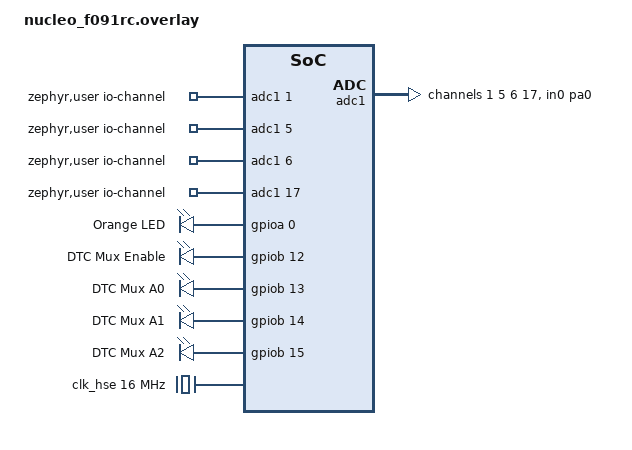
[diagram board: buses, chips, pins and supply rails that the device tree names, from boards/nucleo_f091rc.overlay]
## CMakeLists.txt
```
cmake_minimum_required(VERSION 3.20.0)

find_package(Zephyr REQUIRED HINTS $ENV{ZEPHYR_BASE})

project("oresat-diode-test" LANGUAGES C)

execute_process(COMMAND bash -c "oresat-configs canopennode od.yaml ../../common/od.yaml -d gen")

target_sources(app PRIVATE
  src/main.c
  gen/OD.c
)

zephyr_include_directories(gen)
```

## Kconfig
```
config SEQUENCE_SAMPLES
	int "Number of samples to be made on the sequence for each channel."
	default 5

config SEQUENCE_RESOLUTION
	int "Set the resolution of the sequence readings."
	default 12

config CANOPEN_NODE_ID
	int "CANopen node ID"
	default 10
	range 1 127
	help
	  7-bit CANopen Node ID

source "Kconfig.zephyr"
module = APP
module-str = APP
```

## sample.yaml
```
sample:
  name: oresat-diode-test
common:
  tags:
    - can
    - canopen
  modules:
    - canopennode
  integration_platforms:
    - nucleo_f091rc
```

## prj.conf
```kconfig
CONFIG_GPIO=y
CONFIG_SENSOR=y
CONFIG_CAN=y
CONFIG_CAN_DEFAULT_BITRATE=1000000
CONFIG_CANOPENNODE_V4=y
CONFIG_REBOOT=y
CONFIG_STM32_VREF=y
CONFIG_STM32_TEMP=y
CONFIG_DAC=y

#CONFIG_ZTEST=y
CONFIG_ADC=y
CONFIG_ADC_ASYNC=y
CONFIG_ADC_LOG_LEVEL_INF=y
CONFIG_HEAP_MEM_POOL_SIZE=1024
CONFIG_TEST_USERSPACE=y

CONFIG_CANOPEN_NODE_ID=54
```

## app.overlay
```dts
/ {
  chosen {
    zephyr,code-partition = &slot0_partition;
  };
};
```

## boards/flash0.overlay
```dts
&flash0 {
	partitions {
    boot_partition: partition@0 {
      label = "mcuboot";
      reg = <0x00000000 0x0000C000>;
    };
    slot0_partition: partition@c000 {
      label = "image-0";
      reg = <0x0000C000 DT_SIZE_K(96)>;
    };
    slot1_partition: partition@25000 {
      label = "image-1";
      reg = <0x00025000 DT_SIZE_K(96)>;
    };
	};
};
```

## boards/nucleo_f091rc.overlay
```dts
/ {
	zephyr,user {
		dac = <&dac1>;
		dac-channel-id = <1>;
		dac-resolution = <12>;
    io-channels = <&adc1 1>, <&adc1 5>, <&adc1 6>, <&adc1 17>;
	};

	leds: leds {
		compatible = "gpio-leds";
		orange_led_0: led_0 {
			gpios = <&gpioa 0 GPIO_ACTIVE_HIGH>;
			label = "Orange LED";
		};
	};

  mux_pins: mux_pins {
		compatible = "gpio-leds";
		dtc_mux_en: mux_en {
			gpios = <&gpiob 12 GPIO_ACTIVE_HIGH>;
			label = "DTC Mux Enable";
		};
		dtc_mux_a0: mux_a0 {
			gpios = <&gpiob 13 GPIO_ACTIVE_HIGH>;
			label = "DTC Mux A0";
		};
		dtc_mux_a1: mux_a1 {
			gpios = <&gpiob 14 GPIO_ACTIVE_HIGH>;
			label = "DTC Mux A1";
		};
		dtc_mux_a2: mux_a2 {
			gpios = <&gpiob 15 GPIO_ACTIVE_HIGH>;
			label = "DTC Mux A2";
		};
	};

	aliases {
		muxen = &dtc_mux_en;
		muxa0 = &dtc_mux_a0;
		muxa1 = &dtc_mux_a1;
		muxa2 = &dtc_mux_a2;
		led0 = &orange_led_0;
	};
/*
  chosen {
    zephyr,code-partition = &slot0_partition;
  };
//*/
};

/*
&flash0 {
	partitions {
    boot_partition: partition@0 {
      label = "mcuboot";
      reg = <0x00000000 0x0000C000>;
    };
    slot0_partition: partition@c000 {
      label = "image-0";
      reg = <0x0000C000 DT_SIZE_K(96)>;
    };
    slot1_partition: partition@24000 {
      label = "image-1";
      reg = <0x00024000 DT_SIZE_K(96)>;
    };
	};
};
//*/

&clk_hse {
	/delete-property/	hse-bypass;
	clock-frequency = <DT_FREQ_M(16)>; /* STLink 16MHz clock */
	status = "okay";
};

&pll {
	mul = <3>;
};

&adc1 {
	pinctrl-0 = <&adc_in0_pa0>;
	pinctrl-names = "default";
	st,adc-clock-source = <SYNC>;
	st,adc-prescaler = <4>;
	status = "okay";
	#address-cells = <1>;
	#size-cells = <0>;
	status = "okay";
	channel@1 {
		reg = <1>;
    zephyr,gain = "ADC_GAIN_1";
		zephyr,reference = "ADC_REF_INTERNAL";
		zephyr,acquisition-time = <ADC_ACQ_TIME_DEFAULT>;
		zephyr,resolution = <12>;
	};
  channel@5 {
		reg = <5>;
    zephyr,gain = "ADC_GAIN_1";
		zephyr,reference = "ADC_REF_INTERNAL";
		zephyr,acquisition-time = <ADC_ACQ_TIME_DEFAULT>;
		zephyr,resolution = <12>;
	};
  channel@6 {
		reg = <6>;
    zephyr,gain = "ADC_GAIN_1";
		zephyr,reference = "ADC_REF_INTERNAL";
		zephyr,acquisition-time = <ADC_ACQ_TIME_DEFAULT>;
		zephyr,resolution = <12>;
	};
  channel@11 {
		reg = <17>;
    zephyr,gain = "ADC_GAIN_1";
		zephyr,reference = "ADC_REF_INTERNAL";
		zephyr,acquisition-time = <ADC_ACQ_TIME_DEFAULT>;
		zephyr,resolution = <12>;
	};
};
```

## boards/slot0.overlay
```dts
/ {
  chosen {
    zephyr,code-partition = &slot0_partition;
  };
};
```

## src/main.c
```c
/*
 * Copyright (c) 2016 Intel Corporation
 *
 * SPDX-License-Identifier: Apache-2.0
 */

#include <zephyr/kernel.h>
#include <zephyr/device.h>
#include <zephyr/sys/reboot.h>
#include "canopennode.h"
#include "OD.h"
#include "board_sensors.h"
#include "oresat.h"
#include "diode_test.h"

#define CAN_INTERFACE DEVICE_DT_GET(DT_CHOSEN(zephyr_canbus))
#define CAN_BITRATE                                \
	(DT_PROP_OR(DT_CHOSEN(zephyr_canbus), bitrate,   \
	 DT_PROP_OR(DT_CHOSEN(zephyr_canbus), bus_speed, \
   CONFIG_CAN_DEFAULT_BITRATE)) / 1000)

int app_init(void)
{
  dtc_init();
  
  startControlThread();
  startBlinkyThread();
  startWatchThread();

  return 0;
}

int main(void)
{
  app_init();

	k_timepoint_t timepoint;
	//uint8_t node_id = oresat_get_node_id();
	uint8_t node_id = DTC_CO_NODE_ID;
	oresat_fix_pdo_cob_ids(node_id);

	canopennode_init(CAN_INTERFACE, CAN_BITRATE, node_id);
	board_sensors_init();

	while (canopennode_is_running()) 
  {
		timepoint = sys_timepoint_calc(K_MSEC(1000));
		board_sensors_fill_od();
		k_sleep(sys_timepoint_timeout(timepoint));
	}

	canopennode_stop(CAN_INTERFACE);
	sys_reboot(SYS_REBOOT_COLD);

	return 0;
}
```

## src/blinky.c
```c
#include "blinky.h"

static const struct gpio_dt_spec led = GPIO_DT_SPEC_GET(LED0_NODE, gpios);
int blinky(void)
{
  int ret;
	bool led_state = true;

	if (!gpio_is_ready_dt(&led)) 
  {
		return 0;
	}

	ret = gpio_pin_configure_dt(&led, GPIO_OUTPUT_ACTIVE);
	if (ret < 0) 
  {
		return 1;
	}

  while (1) 
  {
    ret = gpio_pin_toggle_dt(&led);
    if (ret < 0) 
    {
      return 1;
    }

    led_state = !led_state;
    printk("LED state: %s\n", led_state ? "ON" : "OFF");
    k_msleep(SLEEP_TIME_MS);
  }
}

void blinky_entry(void *unused0, void *unused1, void *unused2)
{
  (void) unused0;
  (void) unused1;
  (void) unused2;

  if(blinky())
  {
    printk("ERROR: blinky thread exited!");
  }
}

K_THREAD_STACK_DEFINE(blinky_stack_area, BLINKY_STACK_SIZE);
K_THREAD_DEFINE(
  blinky_tid, BLINKY_STACK_SIZE,
  blinky_entry, NULL, NULL, NULL,
  BLINKY_PRIORITY, 0, 0
);

int startBlinkyThread(void)
{
  k_thread_start(blinky_tid);

  return 0;
}
```

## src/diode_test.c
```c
#include "diode_test.h"
#include "CANopen.h"
#include "OD.h"
#include <zephyr/kernel.h>
#include <zephyr/sys/printk.h>
#include <zephyr/dt-bindings/gpio/gpio.h>
#include <zephyr/drivers/dac.h>
#include <zephyr/devicetree.h>
#include <zephyr/drivers/adc.h>
#include <zephyr/kernel.h>
#include <zephyr/sys/util.h>
#include <inttypes.h>
#include <stddef.h>
#include <stdint.h>

DTC dtc = { 0 };

//sample_t sample[SAMPLES];
#define BUFFER_DEPTH            sizeof(sample)/sizeof(sample_t)

#define ZEPHYR_USER_NODE DT_PATH(zephyr_user)

#if (DT_NODE_HAS_PROP(ZEPHYR_USER_NODE, dac) && \
	DT_NODE_HAS_PROP(ZEPHYR_USER_NODE, dac_channel_id) && \
	DT_NODE_HAS_PROP(ZEPHYR_USER_NODE, dac_resolution))
#define DAC_NODE DT_PHANDLE(ZEPHYR_USER_NODE, dac)
#define DAC_CHANNEL_ID DT_PROP(ZEPHYR_USER_NODE, dac_channel_id)
#define DAC_RESOLUTION DT_PROP(ZEPHYR_USER_NODE, dac_resolution)
#else
#error "Unsupported board: see README and check /zephyr,user node"
#define DAC_NODE DT_INVALID_NODE
#define DAC_CHANNEL_ID 0
#define DAC_RESOLUTION 0
#endif

#if !DT_NODE_EXISTS(DT_PATH(zephyr_user)) || \
	!DT_NODE_HAS_PROP(DT_PATH(zephyr_user), io_channels)
#error "No suitable devicetree overlay specified"
#endif

#define DT_SPEC_AND_COMMA(node_id, prop, idx) \
	ADC_DT_SPEC_GET_BY_IDX(node_id, idx),

// Data of ADC io-channels specified in devicetree. 
static const struct adc_dt_spec adc_channels[] = {
	DT_FOREACH_PROP_ELEM(DT_PATH(zephyr_user), io_channels,
			     DT_SPEC_AND_COMMA)
};

static const struct gpio_dt_spec led0 = GPIO_DT_SPEC_GET(LED0_NODE, gpios);
static const struct gpio_dt_spec mux_en = GPIO_DT_SPEC_GET(MUX_EN_NODE, gpios);
/*
static const struct gpio_dt_spec mux_a0 = GPIO_DT_SPEC_GET(MUX_A0_NODE, gpios);
static const struct gpio_dt_spec mux_a1 = GPIO_DT_SPEC_GET(MUX_A1_NODE, gpios);
static const struct gpio_dt_spec mux_a2 = GPIO_DT_SPEC_GET(MUX_A2_NODE, gpios);
//*/
//static const struct device *gpio_dev = device_get_binding(MUX_PINS);

/*
 * dtc_callCtrlThreadFunctions
 * gets called every time the ctrl_thread polls OD dtc_ctrl 
 */
int dtc_callCtrlThreadFunctions(void)
{
  
  // TODO: call these functions based on status object
  dtc_muxSelect();
  dtc_dacSet();

  return 0;
}

/*
 * dtc_init
 * initializes diode test card
 */
int dtc_init(void)
{
  // fill array with function pointers
  // indeces are used to call functions from the OD ctrl
  // dtc.pfunc[MAX_FUNCTIONS] is initialized to NULL
  dtc.pfunc[1] = &dtc_dacStart;
  dtc.pfunc[2] = &dtc_dacStop;
  dtc.pfunc[3] = &dtc_gptStart;
  dtc.pfunc[4] = &dtc_gptStop;
  dtc.pfunc[5] = &dtc_adcStart;
  dtc.pfunc[6] = &dtc_adcStop;
  dtc.pfunc[7] = &dtc_muxEnable;
  dtc.pfunc[8] = &dtc_muxDisable;
  dtc.pfunc[9] = &dtc_clearErrors;
  //        ^  lastFunctionIndex

  int i = 1; // first function in dtc.pfunc
  // determine last index of functions 
  for(; *dtc.pfunc[i] && i < MAX_FUNCTIONS; ++i){}
  dtc.lastFunctionIndex = i;

  // create pointers to OD objects
  dtc.pctrl = &OD_RAM.x4000_dtc.ctrl;
  dtc.pmux_select = &OD_RAM.x4000_dtc.mux_select;
  dtc.pdac = &OD_RAM.x4000_dtc.dac;
  dtc.pstatus = &OD_RAM.x4000_dtc.status;
  dtc.perror = &OD_RAM.x4000_dtc.error; 

  dtc.pled_current = &OD_RAM.x4001_adcsample.led_current;
  dtc.pled_swir_pd_current = &OD_RAM.x4001_adcsample.led_swir_pd_current;
  dtc.puv_pd_current = &OD_RAM.x4001_adcsample.uv_pd_current;
 // dtc.ptsen = &OD_RAM.x3003_system.temperature; // wtf!!!
  
  dtc.padcsample = &OD_RAM.x4001_adcsample.led_current;

  // start drivers
  dtc_dacStart();
  dtc_adcStart();
  dtc_gptStart();
  return 0;
}

/*
 * DAC configuration
 */
static const struct device *const dac_dev = DEVICE_DT_GET(DAC_NODE);

static const struct dac_channel_cfg dac_ch_cfg = {
	.channel_id  = DAC_CHANNEL_ID,
	.resolution  = DAC_RESOLUTION,
	.buffered = true
};

/*
 *  dtc_dacStart 
 *  wrapper that calls the ChibiOS version  
 */
int dtc_dacStart(void)
{
  if (!device_is_ready(dac_dev)) {
		printk("DAC device %s is not ready\n", dac_dev->name);
		return 1;
	}

	int ret = dac_channel_setup(dac_dev, &dac_ch_cfg);

	if (ret != 0) {
		printk("Setting up of DAC channel failed with code %d\n", ret);
		return ret;
	}

	printk("Generating sawtooth signal at DAC channel %d.\n", DAC_CHANNEL_ID);
  
  return 0;
}

/*
 * dtc_dacStop
 * wrapper that calls the ChibiOS version
 */
int dtc_dacStop(void)
{
  //dacStop(&DACD1);

  return 0;
}

/*
 * dtc_dacSet
 * sets the dac with the value contained in the OD dtc_dac object 
 */
int dtc_dacSet(void)
{
  if(*dtc.pdac <= 0xFFF)
  {
 //   osalSysLock();
			int ret = dac_write_value(dac_dev, DAC_CHANNEL_ID, *dtc.pdac);
      if (ret != 0) {
				printk("dac_write_value() failed with code %d\n", ret);
				return ret;
			}
//	    printk("writing %d to dac.\n", *dtc.pdac);
 //   osalSysUnlock();
  }
  else
  {
    //TODO: set bit in error object
  }

  return 0;
}

/*
 * ADC streaming callback
 * writes to the OD on completion of an adc sample
 */

#define CHANNEL_COUNT ARRAY_SIZE(adc_channels)
#define BUFFER_ARRAY_LEN 4

uint16_t channel_reading[BUFFER_ARRAY_LEN][CHANNEL_COUNT];
uint16_t adcsample[BUFFER_ARRAY_LEN];
uint16_t temp_buf[BUFFER_ARRAY_LEN];
uint32_t cb_count = 0;
uint8_t sample_count = 0;

static enum adc_action adc_callback(
    const struct device *dev, 
    const struct adc_sequence *sequence, 
    uint16_t sampling_index
)
{
  (void)dev;
  (void)sampling_index;
  (void)sequence;;

  ++cb_count;

  return ADC_ACTION_CONTINUE;
  //return ADC_ACTION_REPEAT;
  //return ADC_ACTION_FINISH
}

const struct adc_sequence_options options = {
  .callback = adc_callback,
//  .extra_samplings = BUFFER_ARRAY_LEN - 1,
//    .interval_us = 100 * 1000UL,
  .interval_us = 0
};

struct adc_sequence sequence = {
  .buffer = adcsample,
  .buffer_size = sizeof(adcsample),
  .options = &options,
};

int work_counter = 0;
void adc_work_handler(struct k_work *work)
{
  (void)work;
  int err = 0;

  ++work_counter;
  
  for (size_t i = 0U; i < ARRAY_SIZE(adc_channels); i++) 
  {
    (void)adc_sequence_init_dt(&adc_channels[i], &sequence);
    temp_buf[i] = adcsample[i];
    err = adc_read_dt(&adc_channels[i], &sequence);
    if (err < 0) 
    {
      printk("Could not read (%d)\n", err);
    }
  }

}

K_WORK_DEFINE(adc_work, adc_work_handler);

void adc_timer_handler(struct k_timer *dummy)
{
  (void)dummy;

  k_work_submit(&adc_work);
}

K_TIMER_DEFINE(adc_timer, adc_timer_handler, NULL);

/*
 * dtc_gptStart
 * wrapper for ChibiOS gpt driver function calls
 */

int dtc_gptStart(void)
{
  k_timer_start(&adc_timer, K_MSEC(200), K_MSEC(200));
  (*dtc.pstatus) |= (1 << CTRL_GPT_EN); // sets the status bit
  
  return 0;
}
/*
 * dtc_gptStop
 * wrapper for ChibiOS gpt driver function calls
 */
int dtc_gptStop(void)
{
  (*dtc.pstatus) &= ~(1 << CTRL_GPT_EN); // clears the status bit
  
  return 0;
}

/*
 * dtc_adcStart
 * wrapper for ChibiOS gpt driver function calls
 */
int dtc_adcStart(void)
{
  int err;

  printk("\nADC buffer size: %d\n", sequence.buffer_size);

  for (size_t i = 0U; i < ARRAY_SIZE(adc_channels); i++) 
  {
    if (!adc_is_ready_dt(&adc_channels[i])) 
    {
      printk("ADC controller device %s not ready\n", adc_channels[i].dev->name);
      return 0;
    }

    printk("ADC controller device %s ready!\n", adc_channels[i].dev->name);
  
    sequence.channels |=  BIT(adc_channels[i].channel_id);
  
    err = adc_channel_setup_dt(&adc_channels[i]);
    if (err < 0) 
    {
      printk("Could not setup channel #%d (%d)\n", i, err);
      return 0;
    }
    printk("Successfullly setup channel #%d\n", i);
  }

  //k_timer_start(&adc_timer, K_MSEC(200), K_MSEC(200));
  
  return 0;
}

/*
  adcStart(&ADCD1, NULL);
  if(ADCD1.state == ADC_READY)
  {
    (*dtc.pstatus) |= (1 << CTRL_ADC_EN); // sets the status bit
    adcSTM32SetCCR(ADC_CCR_TSEN); // enable temperature sensor
    adcStartConversion(&ADCD1, &adcgrpcfg1, (adcsample_t *)sample, BUFFER_DEPTH);
  }
  else
  {
    (*dtc.perror) = (*dtc.perror) | ERROR_ADC_START;
  }
  return 0;
}
//*/

/*
 * dtc_adcStop
 * wrapper for ChibiOS gpt driver function calls
 */
int dtc_adcStop(void)
{
  /*
  adcStop(&ADCD1);
  if(ADCD1.state == ADC_STOP)
  {
    (*dtc.pstatus) &= ~(1 << CTRL_ADC_EN);
  }
  else
  {
    (*dtc.perror) = (*dtc.perror) | ERROR_ADC_STOP;
  }
  //*/
  return 0;
}

/*
 * dtc_clearErrors
 * clears all errors
 */
int dtc_clearErrors(void)
{
  (*dtc.perror) = 0;

  return 0;
}

static int blinky(void)
{
  int ret;
	bool led_state = true;

	if (!gpio_is_ready_dt(&led0)) 
  {
		return 0;
	}

	ret = gpio_pin_configure_dt(&led0, GPIO_OUTPUT_ACTIVE);
	if (ret < 0) 
  {
		return 1;
	}

  while (1) 
  {
    ret = gpio_pin_toggle_dt(&led0);
    if (ret < 0) 
    {
      return 1;
    }

    led_state = !led_state;
  //  printk("LED state: %s\n", led_state ? "ON" : "OFF");
    k_msleep(SLEEP_TIME_MS);
  }

}

static void blinky_entry(void *unused0, void *unused1, void *unused2)
{
  (void) unused0;
  (void) unused1;
  (void) unused2;

  if(blinky())
  {
    printk("ERROR: blinky thread exited!");
  }
}

K_THREAD_STACK_DEFINE(blinky_stack_area, BLINKY_STACK_SIZE);
K_THREAD_DEFINE(
  blinky_tid, BLINKY_STACK_SIZE,
  blinky_entry, NULL, NULL, NULL,
  BLINKY_PRIORITY, 0, 0
);

int startBlinkyThread(void)
{
  k_thread_start(blinky_tid);

  return 0;
}

/*
 * diode test card watch thread
 *
 * watches dtc OD objects and dumps them to serial output
 */
static int watch(void)
{
  
  while (1) 
  {
    printk( "\r\nctrl:                  %04u \r\n", *dtc.pctrl);
    printk(     "mux_select:            %04u \r\n", *dtc.pmux_select);
    printk(     "dac:                   %04u \r\n", *dtc.pdac);
    printk(     "status:              0x%04X \r\n", *dtc.pstatus);
    printk(     "error:               0x%04X \r\n", *dtc.perror);
    printk(     "led_current:           %04u \r\n", *dtc.pled_current);
    printk(     "led_swir_pd_current:   %04u \r\n", *dtc.pled_swir_pd_current);
    printk(     "uv_pd_current:         %04u \r\n", *dtc.puv_pd_current);
    printk(     "tsen:                  %04u \r\n", *dtc.ptsen);
    printk(     "cb count:              %04u \r\n", cb_count);
    printk(     "work counter:          %04u \r\n", work_counter);
    printk(     "adc:    ");

    for(uint8_t j = 0; j < BUFFER_ARRAY_LEN; ++j)
    {
      printk("%04u ", temp_buf[j]);
    }
    printk("\r\n");
   
    k_msleep(SLEEP_TIME_MS * 5);
  }

  return 0;
}

static void watch_entry(void *unused0, void *unused1, void *unused2)
{
  (void) unused0;
  (void) unused1;
  (void) unused2;

  if(watch())
  {
    printk("ERROR: watch thread exited!");
  }
}

K_THREAD_STACK_DEFINE(watch_stack_area, WATCH_STACK_SIZE);
K_THREAD_DEFINE(
  watch_tid, WATCH_STACK_SIZE,
  watch_entry, NULL, NULL, NULL,
  WATCH_PRIORITY, 0, 0
);

int startWatchThread(void)
{
  k_thread_start(watch_tid);

  return 0;
}

/*
 * dtc_muxEnable
 * enables the diode mux (logic low enable)
 */
int  dtc_muxEnable(void)
{ 
 	gpio_pin_set_dt(&mux_en, 0);
  //palClearPad(GPIOB, DTC_MUX_EN); // logic low enable
  (*dtc.pstatus) |= (1 << CTRL_MUX_EN);
  return 0;
}
/*
 * dtc_muxDisable
 * disables the diode mux (logic high disable)
 */
int dtc_muxDisable(void)
{
  //palSetPad(GPIOB, DTC_MUX_EN); // logic high disable
 	gpio_pin_set_dt(&mux_en, 1);
  //palClearPad(GPIOB, DTC_MUX_EN); // logic low enable
  (*dtc.pstatus) &= ~(1 << CTRL_MUX_EN);
  
  return 0;
}

/*
 * dtc_muxSelect
 * select desired diode (0 - 7)
 */
int dtc_muxSelect(void)
{
 if(*dtc.pmux_select < DTC_NUM_DIODES)
 {
  /*
    gpio_port_set_masked(,
      PAL_PORT_BIT(DTC_MUX_A0) | PAL_PORT_BIT(DTC_MUX_A1) | PAL_PORT_BIT(DTC_MUX_A2), 
      (*dtc.pmux_select << DTC_MUX_A0)
    );
   //*/
    //osalSysLock();
    /*
    palWriteGroup(
      GPIOB, 
      PAL_PORT_BIT(DTC_MUX_A0) | PAL_PORT_BIT(DTC_MUX_A1) | PAL_PORT_BIT(DTC_MUX_A2), 
      0, 
      (*dtc.pmux_select << DTC_MUX_A0)
    );
    //*/
    *dtc.pstatus = (*dtc.pstatus & (~CTRL_MUX_MASK)) | (*dtc.pmux_select << CTRL_MUX_A0);
   // osalSysUnlock();
  }

 return 0;
}

/*
 * app control thread 
 */

static int control(void)
{
  dtc_muxEnable();  
  
  while (1) 
  {
    // TODO: make this thread interrupt driven instead of polling
    // might need interrupts for changes in mux_select and dac as well
    if(*dtc.pctrl > 0) 
    {
      if(*dtc.pctrl <= dtc.lastFunctionIndex)
      {
        dtc.pfunc[*dtc.pctrl]();
      }
      else
      { 
        // TODO: set error bit in OD
      }
      
      *dtc.pctrl = 0;
    }
    
    dtc_callCtrlThreadFunctions();

    k_msleep(200);
  }

  return 0;
}

static void control_entry(void *unused0, void *unused1, void *unused2)
{
  (void) unused0;
  (void) unused1;
  (void) unused2;

  if(control())
  {
    printk("ERROR: watch thread exited!");
  }
}

K_THREAD_STACK_DEFINE(control_stack_area, CONTROL_STACK_SIZE);
K_THREAD_DEFINE(
  control_tid, CONTROL_STACK_SIZE,
  control_entry, NULL, NULL, NULL,
  CONTROL_PRIORITY, 0, 0
);

int startControlThread(void)
{
  k_thread_start(control_tid);

  return 0;
}
```

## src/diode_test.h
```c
#ifndef _DIODE_TEST_H_
#define _DIODE_TEST_H_

#include <stdio.h>
#include <zephyr/kernel.h>
#include <zephyr/drivers/gpio.h>
#include "stdint.h"

#define ENABLE_NV_MEMORY_UPDATE_CODE      0
#define ENABLE_SERIAL_DEBUG_OUTPUT        1

#define LED0_NODE DT_ALIAS(led0)
#define MUX_EN_NODE DT_ALIAS(muxen)
#define MUX_A0_NODE DT_ALIAS(muxa0)
#define MUX_A1_NODE DT_ALIAS(muxa1)
#define MUX_A2_NODE DT_ALIAS(muxa2)
#define MUX_PINS DT_ALIAS(muxpins)

#define DTC_CO_NODE_ID 0x54

/*
#if ENABLE_SERIAL_DEBUG_OUTPUT || ENABLE_NV_MEMORY_UPDATE_CODE
#define DEBUG_SERIAL    (BaseSequentialStream*) &SD2

#define dbgprintf(str, ...) chprintf((BaseSequentialStream*) &SD2, str, ##__VA_ARGS__)
#else
#define dbgprintf(str, ...)
#endif
//*/

typedef uint16_t adcsample_t;

#define DTC_NODE_ID             0x54

// definitions from the board file
#define DTC_LED                 GPIOA_LED
#define DTC_MUX_EN              GPIOB_LED_MUX_EN
#define DTC_MUX_A0              GPIOB_LED_MUX_A0
#define DTC_MUX_A1              GPIOB_LED_MUX_A1
#define DTC_MUX_A2              GPIOB_LED_MUX_A2
#define DTC_POUT                GPIOB_POUTPROT  //PB0

#define DTC_NUM_DIODES          8

#define SAMPLES                 2  // number of samples in sample buffer

// bits for OD error object
#define ERROR_DAC               (1 << 0)
#define ERROR_ADC_CB            (1 << 1)
#define ERROR_ADC_START         (1 << 2)
#define ERROR_ADC_STOP          (1 << 3)
#define ERROR_4                 (1 << 4)
#define ERROR_5                 (1 << 5)

// bits for OD status object
#define CTRL_DAC_EN             0x0
#define CTRL_GPT_EN             0x1
#define CTRL_ADC_EN             0x2
#define CTRL_MUX_EN             0x3
#define CTRL_MUX_A0             0x4
#define CTRL_MUX_A1             0x5
#define CTRL_MUX_A2             0x6
#define CTRL_7                  0x7
#define CTRL_8                  0x8
#define CTRL_9                  0x9
#define CTRL_A                  0xA
#define CTRL_B                  0xB
#define CTRL_C                  0xC
#define CTRL_D                  0xD
#define CTRL_E                  0xE
#define CTRL_F                  0xF

// bit masks
#define CTRL_MUX_MASK           (0x7 << CTRL_MUX_A0)

/*
 * sample_t struct for buffering samples
 */
typedef struct
{
  adcsample_t led_current;          
  adcsample_t led_swir_pd_current;  
  adcsample_t uv_pd_current;        
  adcsample_t tsen;                 
} sample_t;

#define NUM_CHANNELS            sizeof(sample_t)/sizeof(adcsample_t)

#define MAX_FUNCTIONS           64

/*
 * DTC struct
 */
typedef struct
{
	// pointers to OD objects
  uint8_t *pctrl;
  uint8_t *pmux_select;
  uint16_t *pdac;
  uint16_t *pstatus;
  uint16_t *perror;
  int (*pfunc[MAX_FUNCTIONS])(void);
  adcsample_t *pled_current;
  adcsample_t *pled_swir_pd_current;
  adcsample_t *puv_pd_current;
  adcsample_t *ptsen;
  adcsample_t *padcsample;
  int lastFunctionIndex; // last index of functions set in *pfunc[]
} DTC;

/*
 * thread section 
 */

#define BLINKY_STACK_SIZE 500
#define BLINKY_PRIORITY 5

#define WATCH_STACK_SIZE 500
#define WATCH_PRIORITY 5

#define CONTROL_STACK_SIZE 500
#define CONTROL_PRIORITY 5

/* 1000 msec = 1 sec */
#define SLEEP_TIME_MS   1000

extern int startBlinkyThread(void);
extern int startWatchThread(void);
extern int startControlThread(void);

/*
 * function declaration
 */
int dtc_init(void);
int dtc_callCtrlThreadFunctions(void);
int dtc_dacStart(void);
int dtc_dacStop(void);
int dtc_dacSet(void);
int dtc_gptStart(void);
int dtc_gptStop(void);
int dtc_adcStart(void);
int dtc_adcStop(void);
int dtc_muxEnable(void);
int dtc_muxDisable(void);
int dtc_muxSelect(void);
int dtc_clearErrors(void);

#endif // _DIODE_TEST_H_
```
